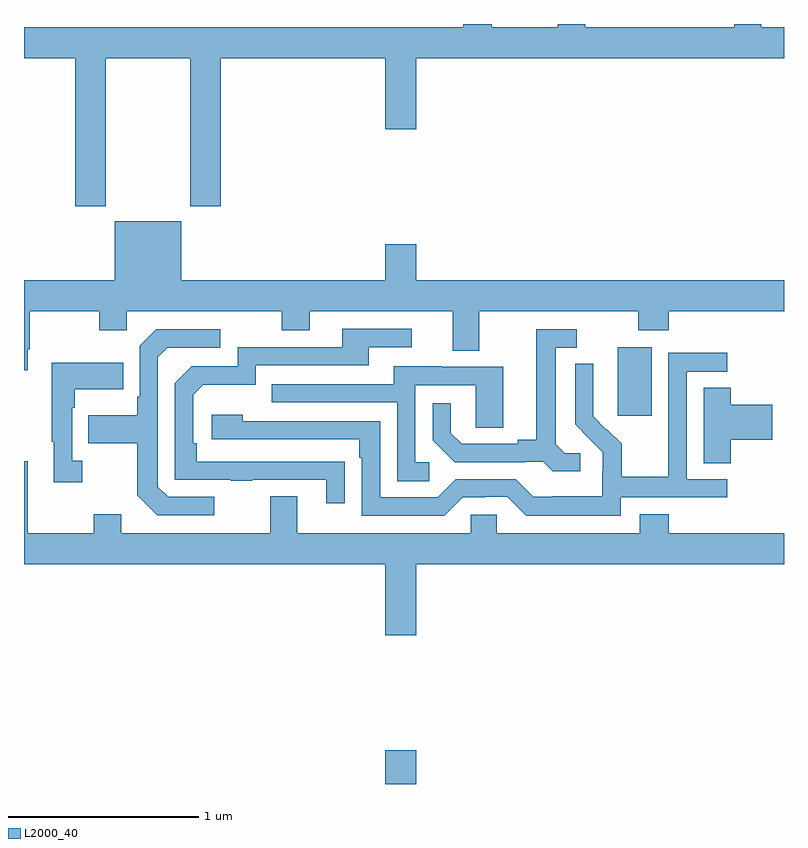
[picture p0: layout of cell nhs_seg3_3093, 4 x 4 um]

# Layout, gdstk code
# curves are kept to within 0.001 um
import gdstk
lib = gdstk.Library(unit=1e-6, precision=1e-09)
def R(c, l, rs):  # rectangles x0, y0, x1, y1
    for r in rs: c.add(gdstk.rectangle(r[:2], r[2:], *l))
def P(c, l, *ps):  # polygons
    for p in ps: c.add(gdstk.Polygon(p, *l))
L2000_40 = (2000, 40)

nhs_seg3_3093 = lib.new_cell('nhs_seg3_3093')
R(nhs_seg3_3093, L2000_40, [(272.9,726.4,273.064,726.577), (274.124,728.337,274.303,728.698)])
P(nhs_seg3_3093, L2000_40, [(271.431,730.22),(271.876,730.22),(271.876,729.441),(272.036,729.441),(272.036,730.22),(272.9,730.22),(272.9,729.846),(273.064,729.846),(273.064,730.22),(275,730.22),(275,730.384),(274.879,730.384),(274.879,730.4),(274.739,730.4),(274.739,730.384),(273.955,730.384),(273.955,730.4),(273.808,730.4),(273.808,730.384),(273.463,730.384),(273.463,730.4),(273.311,730.4),(273.311,730.384),(271,730.384),(271,730.22),(271.271,730.22),(271.271,729.441),(271.431,729.441)],
  [(271.021,728.689),(271.029,728.689),(271.029,728.888),(271.396,728.888),(271.396,728.789),(271.542,728.789),(271.542,728.888),(272.356,728.888),(272.356,728.789),(272.503,728.789),(272.503,728.888),(273.257,728.888),(273.257,728.68),(273.397,728.68),(273.397,728.888),(274.234,728.888),(274.234,728.789),(274.394,728.789),(274.394,728.888),(275,728.888),(275,729.052),(273.064,729.052),(273.064,729.241),(272.9,729.241),(272.9,729.052),(271.828,729.052),(271.828,729.361),(271.478,729.361),(271.478,729.052),(271,729.052),(271,728.577),(271.021,728.577)],
  [(272.687,728.096),(271.91,728.097),(271.91,728.194),(271.89,728.194),(271.89,728.448),(271.943,728.501),(272.22,728.501),(272.22,728.604),(272.815,728.604),(272.815,728.7),(273.04,728.7),(273.04,728.796),(272.675,728.796),(272.675,728.7),(272.124,728.7),(272.124,728.598),(271.884,728.598),(271.794,728.508),(271.794,728.001),(272.089,728.001),(272.089,727.996),(272.201,727.996),(272.201,728.001),(272.591,728.001),(272.591,727.878),(272.687,727.878)],
  [(273.928,728.142),(273.846,728.142),(273.799,728.189),(273.799,728.697),(273.91,728.697),(273.91,728.793),(273.695,728.793),(273.695,728.213),(273.599,728.213),(273.599,728.19),(273.304,728.19),(273.247,728.247),(273.247,728.404),(273.15,728.404),(273.15,728.21),(273.266,728.094),(273.638,728.094),(273.638,728.097),(273.732,728.097),(273.784,728.045),(273.928,728.045)],
  [(272.002,727.911),(271.758,727.911),(271.704,727.965),(271.704,728.646),(271.755,728.697),(272.032,728.697),(272.032,728.793),(271.695,728.793),(271.608,728.706),(271.608,728.437),(271.596,728.437),(271.596,728.341),(271.339,728.341),(271.339,728.194),(271.596,728.194),(271.596,727.921),(271.701,727.815),(272.002,727.815)],
  [(274.14,727.908),(274.702,727.908),(274.702,728.004),(274.488,728.004),(274.488,728.571),(274.702,728.571),(274.702,728.67),(274.392,728.67),(274.392,728.24),(274.39,728.24),(274.39,728.017),(274.145,728.017),(274.145,728.191),(274.068,728.268),(274.065,728.265),(273.995,728.336),(273.996,728.612),(273.9,728.612),(273.9,728.294),(274.046,728.146),(274.046,728.049),(274.044,728.049),(274.044,727.915),(273.781,727.915),(273.781,727.911),(273.681,727.911),(273.588,728.004),(273.273,728.004),(273.177,727.908),(272.874,727.908),(272.874,728.31),(272.15,728.31),(272.15,728.344),(271.989,728.344),(271.989,728.214),(272.765,728.214),(272.765,728.117),(272.778,728.117),(272.778,727.812),(273.213,727.812),(273.309,727.908),(273.428,727.908),(273.428,727.911),(273.543,727.911),(273.643,727.811),(274.14,727.811)],
  [(271.306,728.102),(271.254,728.102),(271.254,728.381),(271.267,728.381),(271.267,728.477),(271.523,728.477),(271.523,728.617),(271.146,728.617),(271.146,728.201),(271.157,728.201),(271.157,727.989),(271.306,727.989)],
  [(273.133,728.094),(273.06,728.094),(273.06,728.499),(273.378,728.499),(273.378,728.275),(273.523,728.275),(273.523,728.595),(273.199,728.595),(273.199,728.599),(272.945,728.599),(272.945,728.505),(272.305,728.505),(272.305,728.409),(272.964,728.409),(272.964,727.993),(273.133,727.993)],
  [(274.721,728.213),(274.939,728.213),(274.939,728.396),(274.721,728.396),(274.721,728.486),(274.577,728.486),(274.577,728.089),(274.721,728.089)],
  [(273.064,727.556),(275,727.556),(275,727.72),(274.394,727.72),(274.394,727.819),(274.241,727.819),(274.241,727.72),(273.489,727.72),(273.489,727.818),(273.351,727.818),(273.351,727.72),(272.437,727.72),(272.437,727.915),(272.297,727.915),(272.297,727.72),(271.513,727.72),(271.513,727.819),(271.366,727.819),(271.366,727.72),(271.021,727.72),(271.021,728.098),(271,728.098),(271,727.556),(272.9,727.556),(272.9,727.182),(273.064,727.182)])

lib.write_gds('nhs_seg3_3093.gds')
